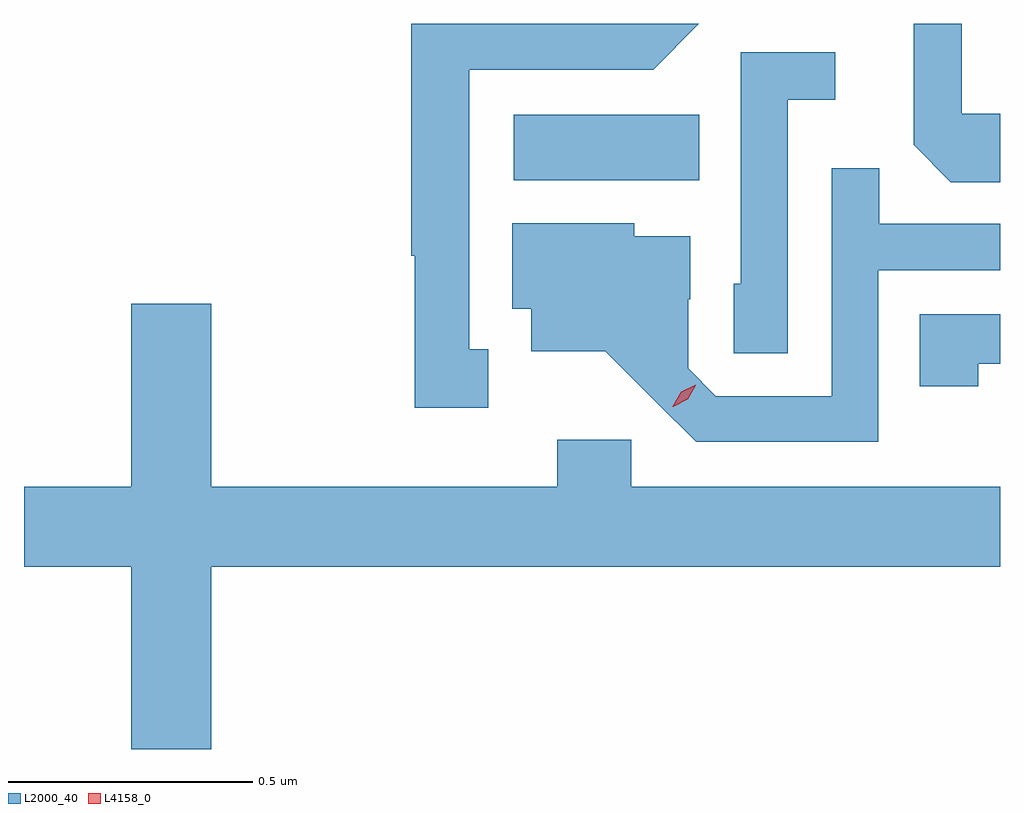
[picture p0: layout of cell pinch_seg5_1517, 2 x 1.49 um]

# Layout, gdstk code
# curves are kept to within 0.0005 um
import gdstk
lib = gdstk.Library(unit=1e-6, precision=1e-09)
def R(c, l, rs):  # rectangles x0, y0, x1, y1
    for r in rs: c.add(gdstk.rectangle(r[:2], r[2:], *l))
def P(c, l, *ps):  # polygons
    for p in ps: c.add(gdstk.Polygon(p, *l))
L2000_40 = (2000, 40)
L4158_0 = (4158, 0)

pinch_seg5_1517 = lib.new_cell('pinch_seg5_1517')
R(pinch_seg5_1517, L2000_40, [(112.734,885.524,113.114,885.658)])
P(pinch_seg5_1517, L2000_40, [(112.681,885.177),(112.642,885.177),(112.642,885.75),(113.019,885.75),(113.113,885.844),(112.524,885.844),(112.524,885.369),(112.531,885.369),(112.531,885.057),(112.681,885.057)],
  [(113.73,885.66),(113.652,885.66),(113.652,885.844),(113.553,885.844),(113.553,885.596),(113.629,885.52),(113.73,885.52)],
  [(113.295,885.689),(113.392,885.689),(113.392,885.786),(113.199,885.786),(113.199,885.312),(113.184,885.312),(113.184,885.169),(113.295,885.169)],
  [(113.481,885.339),(113.73,885.339),(113.73,885.435),(113.483,885.435),(113.483,885.548),(113.385,885.548),(113.385,885.081),(113.148,885.081),(113.091,885.138),(113.091,885.28),(113.095,885.28),(113.095,885.409),(112.98,885.409),(112.98,885.436),(112.73,885.436),(112.73,885.26),(112.769,885.26),(112.769,885.173),(112.921,885.173),(113.108,884.988),(113.481,884.988)],
  [(112.114,884.732),(113.73,884.732),(113.73,884.896),(112.974,884.896),(112.974,884.992),(112.823,884.992),(112.823,884.896),(112.114,884.896),(112.114,885.271),(111.95,885.271),(111.95,884.896),(111.73,884.896),(111.73,884.732),(111.95,884.732),(111.95,884.358),(112.114,884.358)],
  [(113.685,885.148),(113.73,885.148),(113.73,885.249),(113.566,885.249),(113.566,885.102),(113.685,885.102)])
P(pinch_seg5_1517, L4158_0, [(113.059,885.06),(113.059,885.061),(113.077,885.09),(113.107,885.105),(113.107,885.105),(113.107,885.104),(113.09,885.075),(113.06,885.06)])

lib.write_gds('pinch_seg5_1517.gds')
